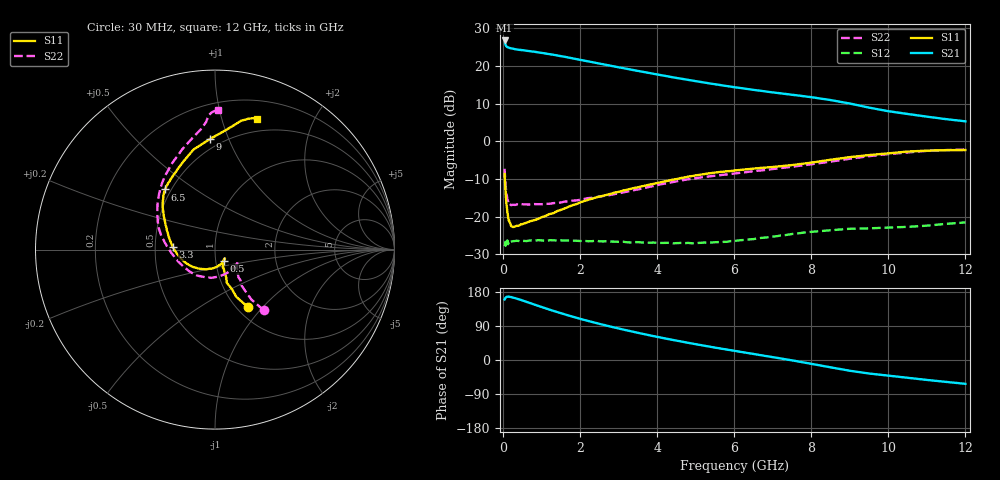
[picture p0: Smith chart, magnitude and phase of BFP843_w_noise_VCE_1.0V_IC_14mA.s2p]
! Infineon Technologies  Discrete & RF Semiconductors
! BFP843
! VCE =  1.0 V,  IC =  14 mA
! Common Emitter S-Parameters:  Aug 2013
# GHz  S  MA  R  50
!  f  S11  S21  S12  S22
! GHz  MAG  ANG  MAG  ANG  MAG  ANG  MAG  ANG
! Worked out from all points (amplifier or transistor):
!   103 points, 30 MHz to 12 GHz, reference 50 ohm
!   highest |S21| = 26.8 dB at 30 MHz (marker M1)
!   |S21| within 3 dB of that: start of sweep to 804.4 MHz
!   unconditionally stable (mu >= 1): 115.4 MHz to 137.8 MHz; 140.5 MHz to 11.12 GHz
!   at 400 MHz: K = 1.02, MAG = 24.5 dB, |S12| = -26.5 dB
!   at 3.7 GHz: K = 1.34, MAG = 19.1 dB, |S12| = -26.9 dB
!   at 12 GHz: K = 0.90, MSG = 13.4 dB, |S12| = -21.5 dB
!   lowest NFmin = 0.95 dB at 450 MHz
!   S11 on the Smith chart (normalised r, x): 30 MHz: 1.12, -0.83; 500 MHz: 1.09, -0.14; 3.3 GHz: 0.62, +0.02; 6.5 GHz: 0.46, +0.38; 9 GHz: 0.43, +0.86; 12 GHz: 0.37, +1.31
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0.03  0.3695 -60.2  21.85 159.9  0.0406 28.7  0.4324 -51.2
0.04  0.2887 -65.7  20.25 161.4  0.0422 20.4  0.3454 -53.9
0.05  0.2416 -66.8  19.4 164.1  0.0464 16.2  0.2919 -53.8
0.07  0.1659 -67.9  18.32 165.8  0.0431 14.7  0.2214 -50.2
0.13  0.0953 -62.4  17.6 167.3  0.0458 9.6  0.1509 -38.5
0.3  0.0744 -41.8  16.74 163.3  0.0475 4.6  0.1431 -28.4
0.5  0.0799 -52.0  16.22 156.9  0.0477 3.0  0.1462 -35.2
0.9  0.0933 -80.5  15.2 142.9  0.0488 0.6  0.1464 -57.5
1.3  0.1114 -107.2  14.09 129.5  0.0486 -1.2  0.1515 -81.1
1.7  0.1358 -128.1  12.93 117.2  0.0482 -2.2  0.1592 -102.7
2.1  0.1613 -145.2  11.79 105.7  0.0479 -3.4  0.1719 -121.2
2.7  0.1959 -166.0  10.28 90.2  0.0474 -4.7  0.1908 -144.6
3.3  0.2339 176.7  8.984 76.1  0.0455 -4.8  0.2193 -164.7
4.1  0.288 158.3  7.557 58.9  0.0448 -2.7  0.2696 175.6
5  0.3534 144.5  6.293 41.6  0.0446 -1.2  0.3248 161.6
6.1  0.4151 133.9  5.15 22.5  0.0484 4.5  0.3796 147.8
6.5  0.4354 129.7  4.826 15.9  0.0504 5.3  0.4008 143.0
7.6  0.4915 115.4  4.095 -2.8  0.0594 3.9  0.4672 129.7
8.5  0.5703 102.1  3.532 -19.4  0.0661 -0.8  0.5382 116.2
9  0.6174 92.5  3.176 -28.4  0.0691 -4.1  0.5879 108.1
10.5  0.732 78.6  2.309 -46.9  0.0733 -10.0  0.7122 94.0
12  0.7669 72.1  1.845 -62.9  0.0839 -16.3  0.7784 88.9
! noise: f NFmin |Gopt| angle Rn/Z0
0.45  0.95  0.05  -171  0.02
0.9  0.96  0.05  -164  0.05
1.5  0.98  0.05  -156  0.11
1.9  1  0.05  -146  0.18
2.4  1.03  0.05  -137  0.25
3.5  1.08  0.04  -114  0.28
5.5  1.2  0.2  -116  0.35
10  1.79  0.5  -64  0.47
